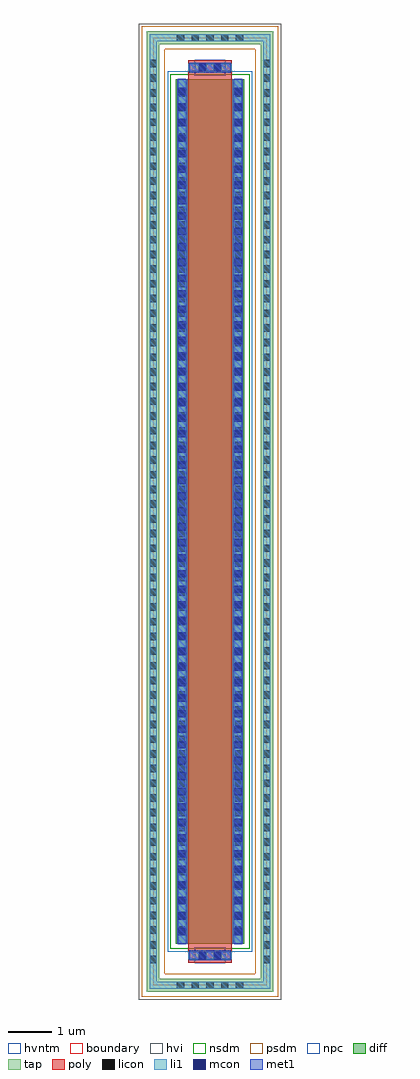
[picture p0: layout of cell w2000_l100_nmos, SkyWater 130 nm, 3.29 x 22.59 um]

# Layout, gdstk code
import gdstk
lib = gdstk.Library(unit=1e-6, precision=1e-09)
def R(c, l, rs):  # rectangles x0, y0, x1, y1
    for r in rs: c.add(gdstk.rectangle(r[:2], r[2:], *l))
def A(c, l, x, y, w, h, nx, ny, dx, dy):  # array of equal rectangles
    R(c, l, [(x+i*dx, y+j*dy, x+i*dx+w, y+j*dy+h) for i in range(nx) for j in range(ny)])
diff = (65, 20)
tap = (65, 44)
poly = (66, 20)
licon = (66, 44)
li1 = (67, 20)
mcon = (67, 44)
met1 = (68, 20)
hvi = (75, 20)
nsdm = (93, 44)
psdm = (94, 20)
npc = (95, 20)
hvntm = (125, 20)
boundary = (235, 4)

sky130_fd_pr__nfet_g5v0d = lib.new_cell('sky130_fd_pr__nfet_g5v0d10v5')

w2000_l100_nmos = lib.new_cell('w2000_l100_nmos')
R(w2000_l100_nmos, diff, [(-0.79,-10,0.79,10)])
R(w2000_l100_nmos, tap, [(-1.46,-11.11,1.46,-10.82), (-1.46,-10.82,-1.17,10.82), (1.17,-10.82,1.46,10.82), (-1.46,10.82,1.46,11.11)])
R(w2000_l100_nmos, poly, [(-0.5,-10.44,0.5,10.44)])
A(w2000_l100_nmos, licon, -0.765, -11.05, 0.17, 0.17, 5, 2, 0.34, 21.93)
A(w2000_l100_nmos, licon, -1.4, -10.455, 0.17, 0.17, 1, 62, 0, 0.34)
A(w2000_l100_nmos, licon, 1.23, -10.455, 0.17, 0.17, 1, 62, 0, 0.34)
A(w2000_l100_nmos, licon, -0.73, -9.775, 0.17, 0.17, 1, 58, 0, 0.34)
A(w2000_l100_nmos, licon, 0.56, -9.775, 0.17, 0.17, 1, 58, 0, 0.34)
R(w2000_l100_nmos, licon, [(-0.255,-10.36,-0.085,-10.19), (0.085,-10.36,0.255,-10.19), (-0.255,10.19,-0.085,10.36), (0.085,10.19,0.255,10.36)])
R(w2000_l100_nmos, li1, [(-1.4,-11.05,1.4,-10.88), (-1.4,-10.88,-1.23,10.88), (1.23,-10.88,1.4,10.88), (-0.5,-10.36,0.5,-10.19), (-0.73,-10.02,-0.56,10.02), (0.56,-10.02,0.73,10.02), (-0.5,10.19,0.5,10.36), (-1.4,10.88,1.4,11.05)])
A(w2000_l100_nmos, mcon, -0.73, -9.805, 0.17, 0.17, 1, 55, 0, 0.36)
A(w2000_l100_nmos, mcon, 0.56, -9.805, 0.17, 0.17, 1, 55, 0, 0.36)
R(w2000_l100_nmos, mcon, [(-0.265,-10.36,-0.095,-10.19), (0.095,-10.36,0.265,-10.19), (-0.265,10.19,-0.095,10.36), (0.095,10.19,0.265,10.36)])
R(w2000_l100_nmos, met1, [(-0.48,-10.39,0.48,-10.16), (-0.76,-10,-0.53,10), (0.53,-10,0.76,10), (-0.48,10.16,0.48,10.39)])
R(w2000_l100_nmos, hvi, [(-1.645,-11.295,1.645,11.295)])
R(w2000_l100_nmos, nsdm, [(-0.915,-10.125,0.915,10.125)])
R(w2000_l100_nmos, psdm, [(-1.585,-11.235,1.585,-10.695), (-1.585,-10.695,-1.045,10.695), (1.045,-10.695,1.585,10.695), (-1.585,10.695,1.585,11.235)])
R(w2000_l100_nmos, npc, [(-0.355,-10.46,0.355,-10.09), (-0.355,10.09,0.355,10.46)])
R(w2000_l100_nmos, hvntm, [(-0.975,-10.185,0.975,10.185)])
R(w2000_l100_nmos, boundary, [(-1.315,-10.965,1.315,10.965)])
w2000_l100_nmos.add(gdstk.Reference(sky130_fd_pr__nfet_g5v0d, (0,0)))

lib.write_gds('w2000_l100_nmos.gds')
